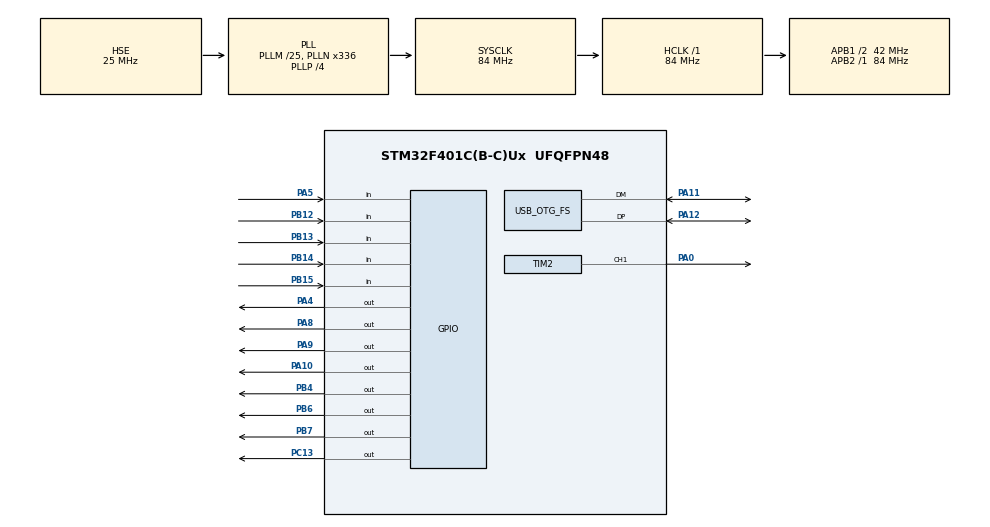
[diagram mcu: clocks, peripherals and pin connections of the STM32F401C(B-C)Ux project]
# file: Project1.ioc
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Mcu.Family=STM32F4
Dma.TIM2_CH1.0.MemInc=DMA_MINC_ENABLE
VP_TIM5_VS_ClockSourceINT.Mode=Internal
USB_DEVICE.CLASS_NAME_FS=CDC
RCC.CortexFreq_Value=84000000
PA11.Mode=Device_Only
Dma.TIM2_CH1.0.Instance=DMA1_Stream5
PB13.Signal=GPIO_Input
PB15.Signal=GPIO_Input
RCC.SYSCLKSource=RCC_SYSCLKSOURCE_PLLCLK
ProjectManager.StackSize=0x400
PA12.Signal=USB_OTG_FS_DP
PH0\ -\ OSC_IN.Signal=RCC_OSC_IN
NVIC.TIM5_IRQn=true\:0\:0\:false\:false\:true\:true\:true
RCC.HCLKFreq_Value=84000000
RCC.APB2TimFreq_Value=84000000
TIM3.Period=41999
PB6.Signal=GPIO_Output
RCC.AHBFreq_Value=84000000
RCC.HSE_VALUE=25000000
PC13-ANTI_TAMP.Signal=GPIO_Output
TIM3.Prescaler=1
PA5.GPIO_PuPd=GPIO_NOPULL
PB7.Signal=GPIO_Output
PA8.Signal=GPIO_Output
TIM2.Channel-PWM\ Generation1\ CH1=TIM_CHANNEL_1
Mcu.Package=UFQFPN48
PB14.GPIO_PuPd=GPIO_PULLDOWN
Dma.TIM2_CH1.0.FIFOMode=DMA_FIFOMODE_DISABLE
PB15.GPIO_PuPd=GPIO_PULLDOWN
NVIC.OTG_FS_IRQn=true\:0\:0\:false\:false\:true\:false\:true
PA10.Signal=GPIO_Output
USB_OTG_FS.VirtualMode=Device_Only
Dma.TIM2_CH1.0.PeriphDataAlignment=DMA_PDATAALIGN_WORD
RCC.APB1TimFreq_Value=84000000
Dma.Request0=TIM2_CH1
Dma.TIM2_CH1.0.Direction=DMA_MEMORY_TO_PERIPH
VP_TIM3_VS_ClockSourceINT.Mode=Internal
PB4.Signal=GPIO_Output
USB_DEVICE.VirtualModeFS=Cdc_FS
PH1\ -\ OSC_OUT.Mode=HSE-External-Oscillator
RCC.APB1CLKDivider=RCC_HCLK_DIV2
PA0-WKUP.Signal=S_TIM2_CH1_ETR
PH0\ -\ OSC_IN.Mode=HSE-External-Oscillator
ProjectManager.TargetToolchain=STM32CubeIDE
NVIC.DMA1_Stream5_IRQn=true\:0\:0\:false\:false\:true\:false\:true
VP_USB_DEVICE_VS_USB_DEVICE_CDC_FS.Mode=CDC_FS
PA9.Signal=GPIO_Output
RCC.LSE_VALUE=32768
PB14.Signal=GPIO_Input
PA5.Signal=GPIO_Input
PH1\ -\ OSC_OUT.Signal=RCC_OSC_OUT
board=custom
RCC.VCOOutputFreq_Value=336000000
NVIC.TIM3_IRQn=true\:0\:0\:false\:false\:true\:true\:true
PB13.GPIO_PuPd=GPIO_PULLDOWN
RCC.APB2Freq_Value=84000000
Dma.TIM2_CH1.0.Priority=DMA_PRIORITY_VERY_HIGH
VP_TIM2_VS_ClockSourceINT.Mode=Internal
TIM2.Period=104
Mcu.Name=STM32F401C(B-C)Ux
RCC.48MHZClocksFreq_Value=48000000
PA4.Signal=GPIO_Output
RCC.SYSCLKFreq_VALUE=84000000
Dma.TIM2_CH1.0.Mode=DMA_NORMAL
PA12.Mode=Device_Only
TIM5.Prescaler=4999
PA11.Signal=USB_OTG_FS_DM
SH.S_TIM2_CH1_ETR.0=TIM2_CH1,PWM Generation1 CH1
Dma.TIM2_CH1.0.MemDataAlignment=DMA_MDATAALIGN_WORD
ProjectManager.HeapSize=0x200
RCC.HSI_VALUE=16000000
RCC.PLLP=RCC_PLLP_DIV4
RCC.PLLQ=7
NVIC.PriorityGroup=NVIC_PRIORITYGROUP_4
RCC.PLLM=25
RCC.PLLN=336
TIM5.Period=8399
PB12.GPIO_PuPd=GPIO_PULLDOWN
RCC.APB1Freq_Value=42000000
USB_DEVICE.VirtualMode=Cdc
Dma.TIM2_CH1.0.PeriphInc=DMA_PINC_DISABLE
PB12.Signal=GPIO_Input

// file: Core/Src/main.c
/* USER CODE BEGIN Header */
/**
  ******************************************************************************
  * @file           : main.c
  * @brief          : Main program body
  ******************************************************************************
  * @attention
  *
  * <h2><center>&copy; Copyright (c) 2021 STMicroelectronics.
  * All rights reserved.</center></h2>
  *
  * This software component is licensed by ST under BSD 3-Clause license,
  * the "License"; You may not use this file except in compliance with the
  * License. You may obtain a copy of the License at:
  *                        opensource.org/licenses/BSD-3-Clause
  *
  ******************************************************************************
  */
/* USER CODE END Header */
#include "main.h"
#include "usb_device.h"

/* USER CODE BEGIN Includes */

#include "toster_display.h"
#include "keypad.h"
#include "color.h"
#include "progress_bar.h"
#include "progress_display.h"

/* USER CODE END Includes */

TIM_HandleTypeDef htim2;
TIM_HandleTypeDef htim3;
TIM_HandleTypeDef htim5;
DMA_HandleTypeDef hdma_tim2_ch1;

void SystemClock_Config(void);
static void MX_GPIO_Init(void);
static void MX_DMA_Init(void);
static void MX_TIM3_Init(void);
static void MX_TIM5_Init(void);
static void MX_TIM2_Init(void);

/* USER CODE BEGIN 0 */

enum State {
	enterPass,
	enterTime,
	cooking,
	cookingEnd
};

/* USER CODE END 0 */

int main(void)
{

  /* MCU Configuration--------------------------------------------------------*/

  /* Reset of all peripherals, Initializes the Flash interface and the Systick. */
  HAL_Init();

  /* Configure the system clock */
  SystemClock_Config();

  /* Initialize all configured peripherals */
  MX_GPIO_Init();
  MX_DMA_Init();
  MX_USB_DEVICE_Init();
  MX_TIM3_Init();
  MX_TIM5_Init();
  MX_TIM2_Init();
  /* USER CODE BEGIN 2 */

  tosterDisplayInit(3);
  initialize_bar();
  HAL_TIM_Base_Start_IT(&htim5);

  enum State state = enterPass;
  tosterTimerBlinkMode(1);
  int password = 1236;
  int cookingTime = 0;
  HAL_GPIO_WritePin(GPIOB, GPIO_PIN_4, GPIO_PIN_RESET);

  set_color_all(COL_YELLOW);
  update_bar();

  /* USER CODE END 2 */

  /* Infinite loop */
  while (1)
  {

    /* USER CODE BEGIN 3 */

//	  HAL_GPIO_TogglePin(GPIOB, GPIO_PIN_4);
//	  HAL_Delay(1000);

	  updateKeypad();
	  int tmp = checkReadiness();
	  if(tmp != -1) {
		  resetKeypad();
		  if(state == enterPass) {
			  if(tmp == password) {
				  state = enterTime;
				  keypadEnterTime(1);
				  set_color_all(COL_GREEN);
				  update_bar();
			  } else {
				  blink(3, COL_RED);
			  }
		  } else if(state == enterTime) {
			  state = cooking;
			  HAL_GPIO_WritePin(GPIOB, GPIO_PIN_4, GPIO_PIN_SET);
			  HAL_TIM_Base_Start_IT(&htim3);

			  cookingTime = getTime();
			  tosterTimerStart();
			  clear_bar();
			  run_progress_bar(cookingTime);
		  } else if(state == cookingEnd) {
			  state = enterTime;
			  stop_shift_animation();
			  resetTimer();
		  }
	  }
	  if(tosterTimerHasFinished() && state != cookingEnd) {
		  state = cookingEnd;
		  HAL_GPIO_WritePin(GPIOB, GPIO_PIN_4, GPIO_PIN_RESET);
		  clear_progress();
		  initialize_shift_animation(100);
		  resetKeypad();
	  }

	  if(state == cooking) {
		  tosterDisplayTime(1, 5);
		  dupa();
	  } else if(state == enterTime) {
		  tosterSetTime( (checkNumber() % 100) + (checkNumber() / 100) * 60 );
		  tosterDisplayTime(1, checkLetter()+1);
	  } else if(state == enterPass) {
		  tosterDisplayNumber( checkNumber(), checkLetter()+1);
	  }

  }
  /* USER CODE END 3 */
}

void SystemClock_Config(void)
{
  RCC_OscInitTypeDef RCC_OscInitStruct = {0};
  RCC_ClkInitTypeDef RCC_ClkInitStruct = {0};

  /** Configure the main internal regulator output voltage
  */
  __HAL_RCC_PWR_CLK_ENABLE();
  __HAL_PWR_VOLTAGESCALING_CONFIG(PWR_REGULATOR_VOLTAGE_SCALE2);
  /** Initializes the RCC Oscillators according to the specified parameters
  * in the RCC_OscInitTypeDef structure.
  */
  RCC_OscInitStruct.OscillatorType = RCC_OSCILLATORTYPE_HSE;
  RCC_OscInitStruct.HSEState = RCC_HSE_ON;
  RCC_OscInitStruct.PLL.PLLState = RCC_PLL_ON;
  RCC_OscInitStruct.PLL.PLLSource = RCC_PLLSOURCE_HSE;
  RCC_OscInitStruct.PLL.PLLM = 25;
  RCC_OscInitStruct.PLL.PLLN = 336;
  RCC_OscInitStruct.PLL.PLLP = RCC_PLLP_DIV4;
  RCC_OscInitStruct.PLL.PLLQ = 7;
  if (HAL_RCC_OscConfig(&RCC_OscInitStruct) != HAL_OK)
  {
    Error_Handler();
  }
  /** Initializes the CPU, AHB and APB buses clocks
  */
  RCC_ClkInitStruct.ClockType = RCC_CLOCKTYPE_HCLK|RCC_CLOCKTYPE_SYSCLK
                              |RCC_CLOCKTYPE_PCLK1|RCC_CLOCKTYPE_PCLK2;
  RCC_ClkInitStruct.SYSCLKSource = RCC_SYSCLKSOURCE_PLLCLK;
  RCC_ClkInitStruct.AHBCLKDivider = RCC_SYSCLK_DIV1;
  RCC_ClkInitStruct.APB1CLKDivider = RCC_HCLK_DIV2;
  RCC_ClkInitStruct.APB2CLKDivider = RCC_HCLK_DIV1;

  if (HAL_RCC_ClockConfig(&RCC_ClkInitStruct, FLASH_LATENCY_2) != HAL_OK)
  {
    Error_Handler();
  }
}

static void MX_TIM2_Init(void)
{

  TIM_ClockConfigTypeDef sClockSourceConfig = {0};
  TIM_MasterConfigTypeDef sMasterConfig = {0};
  TIM_OC_InitTypeDef sConfigOC = {0};

  htim2.Instance = TIM2;
  htim2.Init.Prescaler = 0;
  htim2.Init.CounterMode = TIM_COUNTERMODE_UP;
  htim2.Init.Period = 104;
  htim2.Init.ClockDivision = TIM_CLOCKDIVISION_DIV1;
  htim2.Init.AutoReloadPreload = TIM_AUTORELOAD_PRELOAD_DISABLE;
  if (HAL_TIM_Base_Init(&htim2) != HAL_OK)
  {
    Error_Handler();
  }
  sClockSourceConfig.ClockSource = TIM_CLOCKSOURCE_INTERNAL;
  if (HAL_TIM_ConfigClockSource(&htim2, &sClockSourceConfig) != HAL_OK)
  {
    Error_Handler();
  }
  if (HAL_TIM_PWM_Init(&htim2) != HAL_OK)
  {
    Error_Handler();
  }
  sMasterConfig.MasterOutputTrigger = TIM_TRGO_RESET;
  sMasterConfig.MasterSlaveMode = TIM_MASTERSLAVEMODE_DISABLE;
  if (HAL_TIMEx_MasterConfigSynchronization(&htim2, &sMasterConfig) != HAL_OK)
  {
    Error_Handler();
  }
  sConfigOC.OCMode = TIM_OCMODE_PWM1;
  sConfigOC.Pulse = 0;
  sConfigOC.OCPolarity = TIM_OCPOLARITY_HIGH;
  sConfigOC.OCFastMode = TIM_OCFAST_DISABLE;
  if (HAL_TIM_PWM_ConfigChannel(&htim2, &sConfigOC, TIM_CHANNEL_1) != HAL_OK)
  {
    Error_Handler();
  }
  HAL_TIM_MspPostInit(&htim2);

}

static void MX_TIM3_Init(void)
{

  TIM_ClockConfigTypeDef sClockSourceConfig = {0};
  TIM_MasterConfigTypeDef sMasterConfig = {0};

  htim3.Instance = TIM3;
  htim3.Init.Prescaler = 1;
  htim3.Init.CounterMode = TIM_COUNTERMODE_UP;
  htim3.Init.Period = 41999;
  htim3.Init.ClockDivision = TIM_CLOCKDIVISION_DIV1;
  htim3.Init.AutoReloadPreload = TIM_AUTORELOAD_PRELOAD_DISABLE;
  if (HAL_TIM_Base_Init(&htim3) != HAL_OK)
  {
    Error_Handler();
  }
  sClockSourceConfig.ClockSource = TIM_CLOCKSOURCE_INTERNAL;
  if (HAL_TIM_ConfigClockSource(&htim3, &sClockSourceConfig) != HAL_OK)
  {
    Error_Handler();
  }
  sMasterConfig.MasterOutputTrigger = TIM_TRGO_RESET;
  sMasterConfig.MasterSlaveMode = TIM_MASTERSLAVEMODE_DISABLE;
  if (HAL_TIMEx_MasterConfigSynchronization(&htim3, &sMasterConfig) != HAL_OK)
  {
    Error_Handler();
  }

}

static void MX_TIM5_Init(void)
{

  TIM_ClockConfigTypeDef sClockSourceConfig = {0};
  TIM_MasterConfigTypeDef sMasterConfig = {0};

  htim5.Instance = TIM5;
  htim5.Init.Prescaler = 4999;
  htim5.Init.CounterMode = TIM_COUNTERMODE_UP;
  htim5.Init.Period = 8399;
  htim5.Init.ClockDivision = TIM_CLOCKDIVISION_DIV1;
  htim5.Init.AutoReloadPreload = TIM_AUTORELOAD_PRELOAD_DISABLE;
  if (HAL_TIM_Base_Init(&htim5) != HAL_OK)
  {
    Error_Handler();
  }
  sClockSourceConfig.ClockSource = TIM_CLOCKSOURCE_INTERNAL;
  if (HAL_TIM_ConfigClockSource(&htim5, &sClockSourceConfig) != HAL_OK)
  {
    Error_Handler();
  }
  sMasterConfig.MasterOutputTrigger = TIM_TRGO_RESET;
  sMasterConfig.MasterSlaveMode = TIM_MASTERSLAVEMODE_DISABLE;
  if (HAL_TIMEx_MasterConfigSynchronization(&htim5, &sMasterConfig) != HAL_OK)
  {
    Error_Handler();
  }

}

static void MX_DMA_Init(void)
{

  /* DMA controller clock enable */
  __HAL_RCC_DMA1_CLK_ENABLE();

  /* DMA interrupt init */
  /* DMA1_Stream5_IRQn interrupt configuration */
  HAL_NVIC_SetPriority(DMA1_Stream5_IRQn, 0, 0);
  HAL_NVIC_EnableIRQ(DMA1_Stream5_IRQn);

}

static void MX_GPIO_Init(void)
{
  GPIO_InitTypeDef GPIO_InitStruct = {0};

  /* GPIO Ports Clock Enable */
  __HAL_RCC_GPIOC_CLK_ENABLE();
  __HAL_RCC_GPIOH_CLK_ENABLE();
  __HAL_RCC_GPIOA_CLK_ENABLE();
  __HAL_RCC_GPIOB_CLK_ENABLE();

  /*Configure GPIO pin Output Level */
  HAL_GPIO_WritePin(GPIOC, GPIO_PIN_13, GPIO_PIN_RESET);

  /*Configure GPIO pin Output Level */
  HAL_GPIO_WritePin(GPIOA, GPIO_PIN_4|GPIO_PIN_8|GPIO_PIN_9|GPIO_PIN_10, GPIO_PIN_RESET);

  /*Configure GPIO pin Output Level */
  HAL_GPIO_WritePin(GPIOB, GPIO_PIN_4|GPIO_PIN_6|GPIO_PIN_7, GPIO_PIN_RESET);

  /*Configure GPIO pin : PC13 */
  GPIO_InitStruct.Pin = GPIO_PIN_13;
  GPIO_InitStruct.Mode = GPIO_MODE_OUTPUT_PP;
  GPIO_InitStruct.Pull = GPIO_NOPULL;
  GPIO_InitStruct.Speed = GPIO_SPEED_FREQ_LOW;
  HAL_GPIO_Init(GPIOC, &GPIO_InitStruct);

  /*Configure GPIO pins : PA4 PA8 PA9 PA10 */
  GPIO_InitStruct.Pin = GPIO_PIN_4|GPIO_PIN_8|GPIO_PIN_9|GPIO_PIN_10;
  GPIO_InitStruct.Mode = GPIO_MODE_OUTPUT_PP;
  GPIO_InitStruct.Pull = GPIO_NOPULL;
  GPIO_InitStruct.Speed = GPIO_SPEED_FREQ_LOW;
  HAL_GPIO_Init(GPIOA, &GPIO_InitStruct);

  /*Configure GPIO pin : PA5 */
  GPIO_InitStruct.Pin = GPIO_PIN_5;
  GPIO_InitStruct.Mode = GPIO_MODE_INPUT;
  GPIO_InitStruct.Pull = GPIO_NOPULL;
  HAL_GPIO_Init(GPIOA, &GPIO_InitStruct);

  /*Configure GPIO pins : PB12 PB13 PB14 PB15 */
  GPIO_InitStruct.Pin = GPIO_PIN_12|GPIO_PIN_13|GPIO_PIN_14|GPIO_PIN_15;
  GPIO_InitStruct.Mode = GPIO_MODE_INPUT;
  GPIO_InitStruct.Pull = GPIO_PULLDOWN;
  HAL_GPIO_Init(GPIOB, &GPIO_InitStruct);

  /*Configure GPIO pins : PB4 PB6 PB7 */
  GPIO_InitStruct.Pin = GPIO_PIN_4|GPIO_PIN_6|GPIO_PIN_7;
  GPIO_InitStruct.Mode = GPIO_MODE_OUTPUT_PP;
  GPIO_InitStruct.Pull = GPIO_NOPULL;
  GPIO_InitStruct.Speed = GPIO_SPEED_FREQ_LOW;
  HAL_GPIO_Init(GPIOB, &GPIO_InitStruct);

}

void Error_Handler(void)
{
  __disable_irq();
  while (1)
  {
  }
}

/************************ (C) COPYRIGHT STMicroelectronics *****END OF FILE****/
